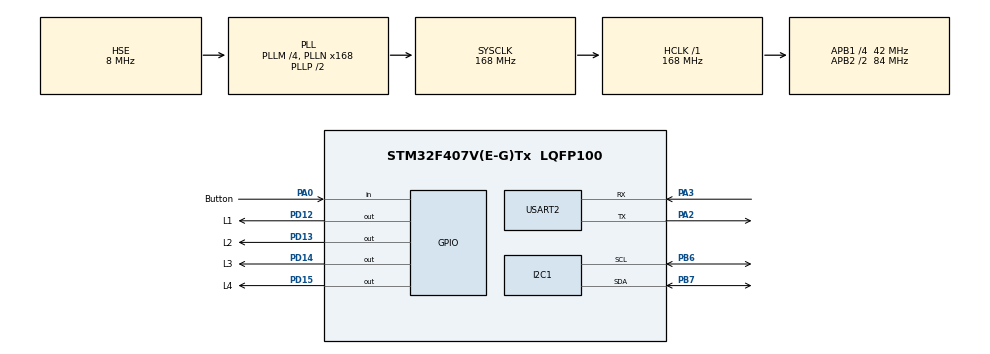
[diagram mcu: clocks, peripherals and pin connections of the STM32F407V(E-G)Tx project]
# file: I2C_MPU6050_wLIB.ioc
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Mcu.Family=STM32F4
Mcu.Name=STM32F407V(E-G)Tx
Mcu.Package=LQFP100
NVIC.PriorityGroup=NVIC_PRIORITYGROUP_4
PA0-WKUP.GPIO_Label=Button
PA0-WKUP.Signal=GPIO_Input
PA13.Mode=Serial_Wire
PA13.Signal=SYS_JTMS-SWDIO
PA14.Mode=Serial_Wire
PA14.Signal=SYS_JTCK-SWCLK
PA2.Mode=Asynchronous
PA2.Signal=USART2_TX
PA3.Mode=Asynchronous
PA3.Signal=USART2_RX
PB6.Mode=I2C
PB6.Signal=I2C1_SCL
PB7.Mode=I2C
PB7.Signal=I2C1_SDA
PD12.GPIO_Label=L1
PD12.Signal=GPIO_Output
PD13.GPIO_Label=L2
PD13.Signal=GPIO_Output
PD14.GPIO_Label=L3
PD14.Signal=GPIO_Output
PD15.GPIO_Label=L4
PD15.Signal=GPIO_Output
PH0-OSC_IN.Mode=HSE-External-Oscillator
PH0-OSC_IN.Signal=RCC_OSC_IN
PH1-OSC_OUT.Mode=HSE-External-Oscillator
PH1-OSC_OUT.Signal=RCC_OSC_OUT
ProjectManager.HeapSize=0x200
ProjectManager.StackSize=0x400
ProjectManager.TargetToolchain=MDK-ARM V5.27
RCC.48MHZClocksFreq_Value=84000000
RCC.AHBFreq_Value=168000000
RCC.APB1CLKDivider=RCC_HCLK_DIV4
RCC.APB1Freq_Value=42000000
RCC.APB1TimFreq_Value=84000000
RCC.APB2CLKDivider=RCC_HCLK_DIV2
RCC.APB2Freq_Value=84000000
RCC.APB2TimFreq_Value=168000000
RCC.CortexFreq_Value=168000000
RCC.HCLKFreq_Value=168000000
RCC.HSE_VALUE=8000000
RCC.HSI_VALUE=16000000
RCC.LSE_VALUE=32768
RCC.PLLM=4
RCC.PLLN=168
RCC.PLLSourceVirtual=RCC_PLLSOURCE_HSE
RCC.SYSCLKFreq_VALUE=168000000
RCC.SYSCLKSource=RCC_SYSCLKSOURCE_PLLCLK
RCC.VCOOutputFreq_Value=336000000
USART2.VirtualMode=VM_ASYNC
board=custom

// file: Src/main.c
/* USER CODE BEGIN Header */
/**
  ******************************************************************************
  * @file           : main.c
  * @brief          : Main program body
  ******************************************************************************
  * @attention
  *
  * <h2><center>&copy; Copyright (c) 2020 STMicroelectronics.
  * All rights reserved.</center></h2>
  *
  * This software component is licensed by ST under BSD 3-Clause license,
  * the "License"; You may not use this file except in compliance with the
  * License. You may obtain a copy of the License at:
  *                        opensource.org/licenses/BSD-3-Clause
  *
  ******************************************************************************
  */
/* USER CODE END Header */

#include "main.h"

/* USER CODE BEGIN Includes */
#include "TJ_MPU6050.h"
#define mpu6050Address 0x68
/* USER CODE END Includes */

I2C_HandleTypeDef hi2c1;

UART_HandleTypeDef huart2;

void SystemClock_Config(void);
static void MX_GPIO_Init(void);
static void MX_I2C1_Init(void);
static void MX_USART2_UART_Init(void);

/* USER CODE BEGIN 0 */
uint8_t i2cBuf[8];
RawData_Def myAccelRaw, myGyroRaw;
ScaledData_Def myAccelScaled, myGyroScaled;
/* USER CODE END 0 */

int main(void)
{
  /* USER CODE BEGIN 1 */
	MPU_ConfigTypeDef myMPU;
  /* USER CODE END 1 */

  /* MCU Configuration--------------------------------------------------------*/

  /* Reset of all peripherals, Initializes the Flash interface and the Systick. */
  HAL_Init();

  /* Configure the system clock */
  SystemClock_Config();

  /* Initialize all configured peripherals */
  MX_GPIO_Init();
  MX_I2C1_Init();
  MX_USART2_UART_Init();
  /* USER CODE BEGIN 2 */
	//1. Initialise the MPU6050 module and I2C
	MPU6050_Init(&hi2c1);

	//2. Configure Accel and Gyro parameters
	myMPU.Accel_Full_Scale = AFS_SEL_4g;
	myMPU.ClockSource = Internal_8MHz;
	myMPU.CONFIG_DLPF = DLPF_184A_188G_Hz;
	myMPU.Gyro_Full_Scale = FS_SEL_500;
	myMPU.Sleep_Mode_Bit = 0;
	MPU6050_Config(&myMPU);

	//3.
  /* USER CODE END 2 */

  /* Infinite loop */
  while (1)
  {

    /* USER CODE BEGIN 3 */
//		//Raw data
//		MPU6050_Get_Accel_RawData(&myAccelRaw);
//		MPU6050_Get_Gyro_RawData(&myGyroRaw);

		//Scaled data
		MPU6050_Get_Accel_Scale(&myAccelScaled);
		MPU6050_Get_Gyro_Scale(&myGyroScaled);

		//Delay
		HAL_Delay(100);

  }
  /* USER CODE END 3 */
}

void SystemClock_Config(void)
{
  RCC_OscInitTypeDef RCC_OscInitStruct = {0};
  RCC_ClkInitTypeDef RCC_ClkInitStruct = {0};

  /** Configure the main internal regulator output voltage
  */
  __HAL_RCC_PWR_CLK_ENABLE();
  __HAL_PWR_VOLTAGESCALING_CONFIG(PWR_REGULATOR_VOLTAGE_SCALE1);
  /** Initializes the CPU, AHB and APB busses clocks
  */
  RCC_OscInitStruct.OscillatorType = RCC_OSCILLATORTYPE_HSE;
  RCC_OscInitStruct.HSEState = RCC_HSE_ON;
  RCC_OscInitStruct.PLL.PLLState = RCC_PLL_ON;
  RCC_OscInitStruct.PLL.PLLSource = RCC_PLLSOURCE_HSE;
  RCC_OscInitStruct.PLL.PLLM = 4;
  RCC_OscInitStruct.PLL.PLLN = 168;
  RCC_OscInitStruct.PLL.PLLP = RCC_PLLP_DIV2;
  RCC_OscInitStruct.PLL.PLLQ = 4;
  if (HAL_RCC_OscConfig(&RCC_OscInitStruct) != HAL_OK)
  {
    Error_Handler();
  }
  /** Initializes the CPU, AHB and APB busses clocks
  */
  RCC_ClkInitStruct.ClockType = RCC_CLOCKTYPE_HCLK|RCC_CLOCKTYPE_SYSCLK
                              |RCC_CLOCKTYPE_PCLK1|RCC_CLOCKTYPE_PCLK2;
  RCC_ClkInitStruct.SYSCLKSource = RCC_SYSCLKSOURCE_PLLCLK;
  RCC_ClkInitStruct.AHBCLKDivider = RCC_SYSCLK_DIV1;
  RCC_ClkInitStruct.APB1CLKDivider = RCC_HCLK_DIV4;
  RCC_ClkInitStruct.APB2CLKDivider = RCC_HCLK_DIV2;

  if (HAL_RCC_ClockConfig(&RCC_ClkInitStruct, FLASH_LATENCY_5) != HAL_OK)
  {
    Error_Handler();
  }
}

static void MX_I2C1_Init(void)
{

  hi2c1.Instance = I2C1;
  hi2c1.Init.ClockSpeed = 100000;
  hi2c1.Init.DutyCycle = I2C_DUTYCYCLE_2;
  hi2c1.Init.OwnAddress1 = 0;
  hi2c1.Init.AddressingMode = I2C_ADDRESSINGMODE_7BIT;
  hi2c1.Init.DualAddressMode = I2C_DUALADDRESS_DISABLE;
  hi2c1.Init.OwnAddress2 = 0;
  hi2c1.Init.GeneralCallMode = I2C_GENERALCALL_DISABLE;
  hi2c1.Init.NoStretchMode = I2C_NOSTRETCH_DISABLE;
  if (HAL_I2C_Init(&hi2c1) != HAL_OK)
  {
    Error_Handler();
  }

}

static void MX_USART2_UART_Init(void)
{

  huart2.Instance = USART2;
  huart2.Init.BaudRate = 115200;
  huart2.Init.WordLength = UART_WORDLENGTH_8B;
  huart2.Init.StopBits = UART_STOPBITS_1;
  huart2.Init.Parity = UART_PARITY_NONE;
  huart2.Init.Mode = UART_MODE_TX_RX;
  huart2.Init.HwFlowCtl = UART_HWCONTROL_NONE;
  huart2.Init.OverSampling = UART_OVERSAMPLING_16;
  if (HAL_UART_Init(&huart2) != HAL_OK)
  {
    Error_Handler();
  }

}

static void MX_GPIO_Init(void)
{
  GPIO_InitTypeDef GPIO_InitStruct = {0};

  /* GPIO Ports Clock Enable */
  __HAL_RCC_GPIOH_CLK_ENABLE();
  __HAL_RCC_GPIOA_CLK_ENABLE();
  __HAL_RCC_GPIOD_CLK_ENABLE();
  __HAL_RCC_GPIOB_CLK_ENABLE();

  /*Configure GPIO pin Output Level */
  HAL_GPIO_WritePin(GPIOD, L1_Pin|L2_Pin|L3_Pin|L4_Pin, GPIO_PIN_RESET);

  /*Configure GPIO pin : Button_Pin */
  GPIO_InitStruct.Pin = Button_Pin;
  GPIO_InitStruct.Mode = GPIO_MODE_INPUT;
  GPIO_InitStruct.Pull = GPIO_NOPULL;
  HAL_GPIO_Init(Button_GPIO_Port, &GPIO_InitStruct);

  /*Configure GPIO pins : L1_Pin L2_Pin L3_Pin L4_Pin */
  GPIO_InitStruct.Pin = L1_Pin|L2_Pin|L3_Pin|L4_Pin;
  GPIO_InitStruct.Mode = GPIO_MODE_OUTPUT_PP;
  GPIO_InitStruct.Pull = GPIO_NOPULL;
  GPIO_InitStruct.Speed = GPIO_SPEED_FREQ_LOW;
  HAL_GPIO_Init(GPIOD, &GPIO_InitStruct);

}

void Error_Handler(void)
{
}

/************************ (C) COPYRIGHT STMicroelectronics *****END OF FILE****/
